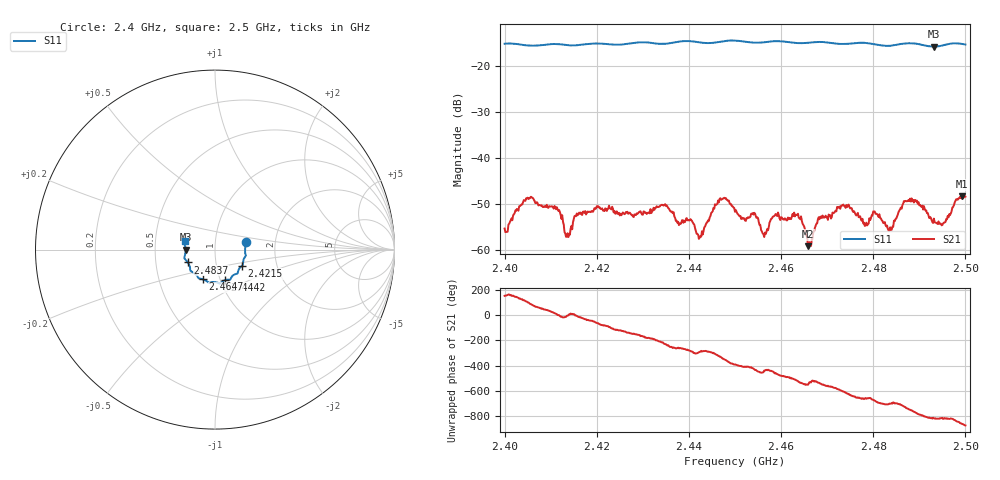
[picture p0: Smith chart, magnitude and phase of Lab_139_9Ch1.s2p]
# Hz S RI R 50
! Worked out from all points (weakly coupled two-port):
!   601 points, 2.4 GHz to 2.5 GHz, reference 50 ohm
!   highest |S21| = -48.28 dB at 2.4992 GHz (marker M1); lowest = -59.1 dB at 2.4658 GHz (marker M2)
!   lowest |S11| = -15.7 dB at 2.4932 GHz (marker M3), VSWR 1.39, Z = 35.9 - j0.0484 ohm
!   |S11| at or under -10 dB: start of sweep to end of sweep
!   S12 and S22 are empty: the file has one direction only
!   S11 on the Smith chart (normalised r, x): 2.4 GHz: 1.41, +0.12; 2.4215 GHz: 1.33, -0.25; 2.4442 GHz: 1.05, -0.37; 2.4647 GHz: 0.83, -0.28; 2.4837 GHz: 0.73, -0.11; 2.5 GHz: 0.71, +0.07
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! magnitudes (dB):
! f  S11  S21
! 2.4 GHz  -15.1  -55.3
! 2.4053 GHz  -15.5  -48.6
! 2.4113 GHz  -15.2  -50.6
! 2.4137 GHz  -15.4  -56.3
! 2.4167 GHz  -15.3  -52.1
! 2.4215 GHz  -15.1  -51.4
! 2.4333 GHz  -15.1  -50.6
! 2.4422 GHz  -14.8  -57.5
! 2.4442 GHz  -15.0  -53.4
! 2.4472 GHz  -14.6  -48.9
! 2.45 GHz  -14.4  -51.6
! 2.4563 GHz  -14.8  -57.1
! 2.4647 GHz  -15.0  -54.2
! 2.4658 GHz  -14.9  -59.1
! 2.4667 GHz  -14.8  -57.5
! 2.4737 GHz  -15.1  -50.3
! 2.4833 GHz  -15.6  -55.7
! 2.4837 GHz  -15.5  -55.0
! 2.4878 GHz  -15.0  -49.3
! 2.4932 GHz  -15.7  -53.1
! 2.4992 GHz  -15.1  -48.3
! 2.5 GHz  -15.3  -48.3
